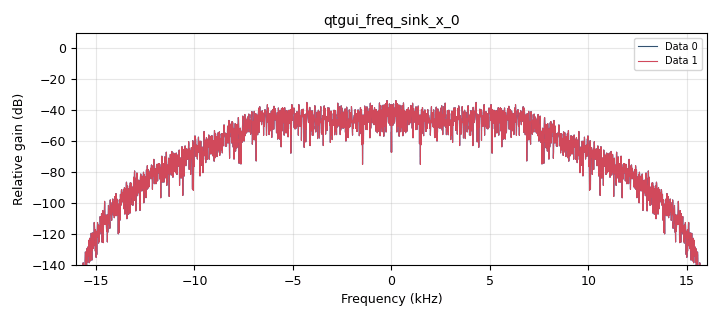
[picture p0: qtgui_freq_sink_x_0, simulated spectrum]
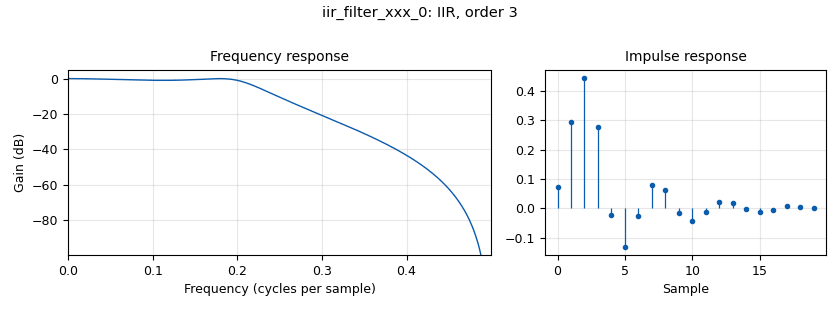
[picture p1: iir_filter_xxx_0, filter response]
<?xml version='1.0' encoding='utf-8'?>
<?grc format='1' created='3.7.9'?>
<flow_graph>
<block>
<key>options</key>
<param><key>id</key><value>examplePythonBlockFilter</value></param>
<param><key>author</key><value>http://aaronscher.com/</value></param>
<param><key>category</key><value>Custom</value></param>
<param><key>description</key><value>http://aaronscher.com/GNU_Radio_Companion_Collection/Embedded_Python_Example3.html</value></param>
<param><key>generate_options</key><value>qt_gui</value></param>
</block>
<block>
<key>variable</key>
<param><key>id</key><value>samp_rate</value></param>
<param><key>value</key><value>32000</value></param>
</block>
<block>
<key>epy_block</key>
<param><key>id</key><value>IIR_pyBlock_ex</value></param>
<param><key>_source_code</key><value>"""&#13;
Embedded Python Blocks:&#13;
&#13;
Each this file is saved, GRC will instantiate the first class it finds to get&#13;
ports and parameters of your block. The arguments to __init__  will be the&#13;
parameters. All of them are required to have default values!&#13;
"""&#13;
&#13;
import numpy as np&#13;
from gnuradio import gr&#13;
&#13;
class blk(gr.sync_block): # other base classes are basic_block, decim_block, interp_block&#13;
    def __init__(self, inputPar=1.0):  # only default arguments here &#13;
        """arguments to this function show up as parameters in GRC"""&#13;
        gr.sync_block.__init__(&#13;
            self,&#13;
            name='Embedded Python Block', # will show up in GRC&#13;
            in_sig=[np.float32],&#13;
            out_sig=[np.float32]&#13;
        )&#13;
        # if an attribute with the same name as a parameter is found,&#13;
        # a callback is registered (properties work, too).&#13;
        self.inputPar = inputPar&#13;
 &#13;
        self.set_history(4)  #Example: The comand set_history(4) appends the previous 4-1=3 items to the input buffer (input_items), while the 4'th item is the current value. Therefore,&#13;
            #input_items[0][3] is the beginning of the current input stream.&#13;
            #input_items[0][2] is one input older than the current input stream.&#13;
            #input_items[0][1] is one input older than input_items[0][2]&#13;
            #input_items[0][0] is one input older than input_items[0][1]&#13;
        self.outputbuffer = [0,0,0] #This is a local array defined to store old output values. This is needed since there is not a set_history function to access old outputs...&#13;
        self.feedforward_taps = 0.0736, 0.2208, 0.2208, 0.0736 #feedforward taps of IIR filter&#13;
        self.feedbacktaps = 1.0000, -0.9761, 0.8568, -0.2919 #feedback taps of IIR filter&#13;
&#13;
    def work(self, input_items, output_items):&#13;
        #Create a new list called output_items_with_history, which appends the previous 3 items to the current output_items. The properties of this new list are as follows:&#13;
        #output_items_with_history[3] is the beginning of the current output stream.&#13;
        #output_items_with_history[2] is one output older than the current output stream.&#13;
        #output_items_with_history[1] is one output older than output_items_with_history[2]&#13;
        #output_items_with_history[0] is one input older than output_items_with_history[1]&#13;
        &#13;
        #To create output_items_with_history, the original author tried the following command:        #output_items_with_history=self.outputbuffer+output_items[0][:]... but it doesn't work, so he came up with:&#13;
        output_items_with_history=[0]&#13;
        output_items_with_history.extend(self.outputbuffer)&#13;
        output_items_with_history.extend(output_items[0][:])&#13;
        output_items_with_history=output_items_with_history[1:]&#13;
&#13;
        #Implement IIR difference equation to filter. Keep in mind that output_items_with_history[3] is the beginning of the current output stream, and input_items[0][3] is the beginning of the current input stream.&#13;
        for i in range(0, len(output_items_with_history)-3):&#13;
            output_items_with_history[i+3]=input_items[0][i+3]*self.feedforward_taps[0]+input_items[0][i+2]*self.feedforward_taps[1]+input_items[0][i+1]*self.feedforward_taps[2]+input_items[0][i]*self.feedforward_taps[3]-output_items_with_history[i+2]*self.feedbacktaps[1]-output_items_with_history[i+1]*self.feedbacktaps[2]-output_items_with_history[i]*self.feedbacktaps[3]&#13;
&#13;
        output_items[0][:]=output_items_with_history[3:] #Populate our output_items array&#13;
        &#13;
        end_of_the_road=len(output_items[0]) #length of output item vector&#13;
        self.outputbuffer[2]=output_items[0][end_of_the_road-1] #The last element of the outputbuffer is the last output item&#13;
        self.outputbuffer[1]=output_items[0][end_of_the_road-2]#The second to last element of the outputbuffer is the second to last output item&#13;
        self.outputbuffer[0]=output_items[0][end_of_the_road-3] #The third to last element of the outputbuffer is the third to last output item&#13;
        &#13;
        return len(output_items[0])</value></param>
<param><key>inputPar</key><value>1.0</value></param>
</block>
<block>
<key>analog_noise_source_x</key>
<param><key>id</key><value>analog_noise_source_x_0</value></param>
<param><key>amp</key><value>1</value></param>
<param><key>noise_type</key><value>analog.GR_GAUSSIAN</value></param>
<param><key>type</key><value>float</value></param>
<param><key>seed</key><value>0</value></param>
</block>
<block>
<key>blocks_throttle</key>
<param><key>id</key><value>blocks_throttle_0</value></param>
<param><key>samples_per_second</key><value>samp_rate</value></param>
<param><key>type</key><value>float</value></param>
</block>
<block>
<key>iir_filter_xxx</key>
<param><key>id</key><value>iir_filter_xxx_0</value></param>
<param><key>fftaps</key><value>[0.0736, 0.2208, 0.2208, 0.0736]</value></param>
<param><key>fbtaps</key><value>[1.0000, -0.9761, 0.8568, -0.2919]</value></param>
<param><key>oldstyle</key><value>False</value></param>
<param><key>type</key><value>ffd</value></param>
</block>
<block>
<key>qtgui_freq_sink_x</key>
<param><key>id</key><value>qtgui_freq_sink_x_0</value></param>
<param><key>bw</key><value>samp_rate</value></param>
<param><key>fc</key><value>0</value></param>
<param><key>fftsize</key><value>4096</value></param>
<param><key>grid</key><value>True</value></param>
<param><key>label2</key><value></value></param>
<param><key>nconnections</key><value>2</value></param>
<param><key>showports</key><value>True</value></param>
<param><key>type</key><value>float</value></param>
<param><key>wintype</key><value>firdes.WIN_BLACKMAN_hARRIS</value></param>
</block>
<connection><source_block_id>IIR_pyBlock_ex</source_block_id><sink_block_id>qtgui_freq_sink_x_0</sink_block_id><source_key>0</source_key><sink_key>0</sink_key></connection>
<connection><source_block_id>analog_noise_source_x_0</source_block_id><sink_block_id>blocks_throttle_0</sink_block_id><source_key>0</source_key><sink_key>0</sink_key></connection>
<connection><source_block_id>blocks_throttle_0</source_block_id><sink_block_id>IIR_pyBlock_ex</sink_block_id><source_key>0</source_key><sink_key>0</sink_key></connection>
<connection><source_block_id>blocks_throttle_0</source_block_id><sink_block_id>iir_filter_xxx_0</sink_block_id><source_key>0</source_key><sink_key>0</sink_key></connection>
<connection><source_block_id>iir_filter_xxx_0</source_block_id><sink_block_id>qtgui_freq_sink_x_0</sink_block_id><source_key>0</source_key><sink_key>1</sink_key></connection>
</flow_graph>
